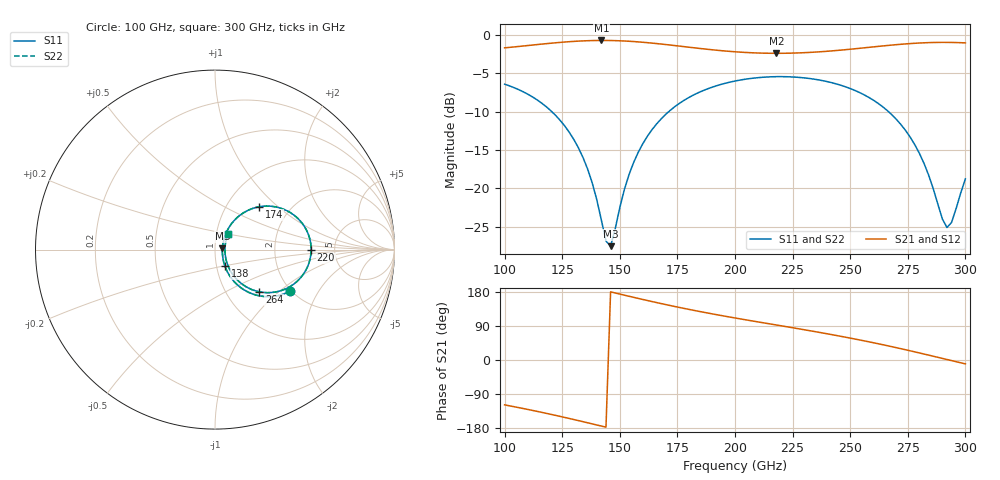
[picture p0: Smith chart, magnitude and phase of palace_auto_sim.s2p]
#  GHZ S DB R 50
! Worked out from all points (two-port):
!   101 points, 100 GHz to 300 GHz, reference 50 ohm
!   highest |S21| = -0.70 dB at 142 GHz (marker M1); lowest = -2.4 dB at 218 GHz (marker M2)
!   |S21| within 3 dB of the highest: start of sweep to end of sweep
!   lowest |S11| = -27.5 dB at 146 GHz (marker M3), VSWR 1.09, Z = 54.3 + j0.721 ohm
!   |S11| at or under -10 dB: 120.5 GHz to 171.2 GHz (50.72 GHz wide, 34.8 % of centre); 266.6 GHz to end of sweep
!   |S22| runs from -27.6 to -5.4 dB; largest |S21 - S12| = 1e-14
!   S11 on the Smith chart (normalised r, x): 100 GHz: 1.97, -1.18; 138 GHz: 1.10, -0.21; 174 GHz: 1.41, +0.76; 220 GHz: 3.31, -0.03; 264 GHz: 1.42, -0.76; 300 GHz: 1.14, +0.21
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100  -6.40 -28.9  -1.67 -118.4  -1.67 -118.4  -6.40 -29.0
120  -9.85 -50.0  -1.07 -143.3  -1.07 -143.3  -9.86 -50.0
134  -15.96 -60.8  -0.76 -162.8  -0.76 -162.8  -15.96 -61.0
138  -19.26 -59.1  -0.72 -168.5  -0.72 -168.5  -19.27 -59.3
142  -24.15 -45.3  -0.70 -174.4  -0.70 -174.4  -24.18 -45.7
144  -26.87 -24.5  -0.70 -177.3  -0.70 -177.3  -26.94 -24.8
146  -27.54 9.1  -0.71 179.8  -0.71 179.8  -27.63 9.1
152  -20.13 54.7  -0.77 171.1  -0.77 171.1  -20.15 54.9
156  -16.63 57.7  -0.85 165.4  -0.85 165.4  -16.64 57.9
168  -10.92 50.1  -1.17 148.8  -1.17 148.8  -10.92 50.1
174  -9.31 44.2  -1.37 141.0  -1.37 141.0  -9.32 44.2
200  -6.00 18.5  -2.18 110.9  -2.18 110.9  -6.00 18.5
218  -5.43 1.5  -2.38 92.3  -2.38 92.3  -5.43 1.5
220  -5.42 -0.4  -2.38 90.3  -2.38 90.3  -5.42 -0.4
234  -5.74 -13.7  -2.23 75.7  -2.23 75.7  -5.74 -13.7
250  -6.97 -29.5  -1.85 57.8  -1.85 57.8  -6.97 -29.5
264  -9.33 -43.5  -1.42 40.5  -1.42 40.5  -9.33 -43.6
268  -10.37 -47.3  -1.31 35.2  -1.31 35.2  -10.37 -47.4
280  -15.41 -54.5  -1.04 18.6  -1.04 18.6  -15.42 -54.6
292  -25.11 -3.7  -0.95 1.3  -0.95 1.3  -25.20 -3.9
294  -24.45 19.7  -0.96 -1.6  -0.96 -1.6  -24.53 19.8
300  -18.77 50.4  -1.02 -10.3  -1.02 -10.3  -18.79 50.7
